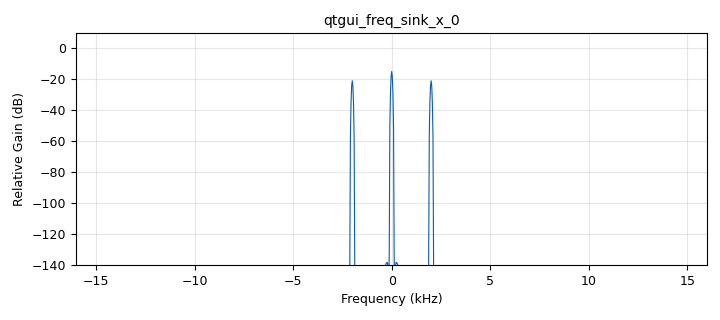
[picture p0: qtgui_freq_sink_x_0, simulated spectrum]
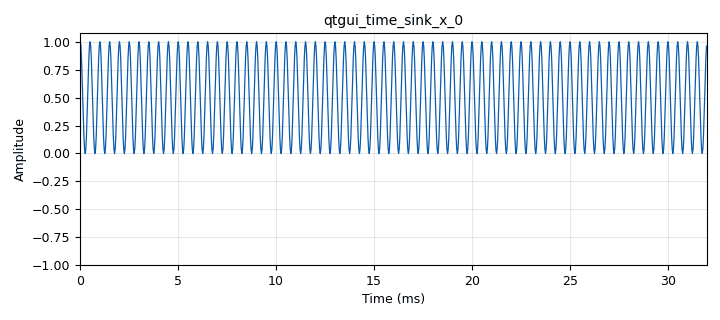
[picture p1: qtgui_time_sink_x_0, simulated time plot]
options:
  parameters:
    generate_options: qt_gui
    id: Multiplicacion
    output_language: python
    title: Practica_1_3
  states: {}

blocks:
- name: samp_rate
  id: variable
  parameters:
    value: '32000'
  states: {}
- name: analog_sig_source_x_0
  id: analog_sig_source_x
  parameters:
    amp: '1'
    freq: '1000'
    offset: '0'
    phase: '0'
    samp_rate: samp_rate
    type: float
    waveform: analog.GR_COS_WAVE
  states: {}
- name: analog_sig_source_x_0_0
  id: analog_sig_source_x
  parameters:
    amp: '1'
    freq: '1000'
    offset: '0'
    phase: '0'
    samp_rate: samp_rate
    type: float
    waveform: analog.GR_COS_WAVE
  states: {}
- name: blocks_multiply_xx_0
  id: blocks_multiply_xx
  parameters:
    type: float
  states: {}
- name: qtgui_freq_sink_x_0
  id: qtgui_freq_sink_x
  parameters:
    bw: samp_rate
    fc: '0'
    fftsize: '1024'
    type: float
  states: {}
- name: qtgui_time_sink_x_0
  id: qtgui_time_sink_x
  parameters:
    size: '1024'
    srate: samp_rate
    type: float
  states: {}

connections:
- [analog_sig_source_x_0, '0', blocks_multiply_xx_0, '0']
- [analog_sig_source_x_0_0, '0', blocks_multiply_xx_0, '1']
- [blocks_multiply_xx_0, '0', qtgui_freq_sink_x_0, '0']
- [blocks_multiply_xx_0, '0', qtgui_time_sink_x_0, '0']

metadata:
  file_format: 1
